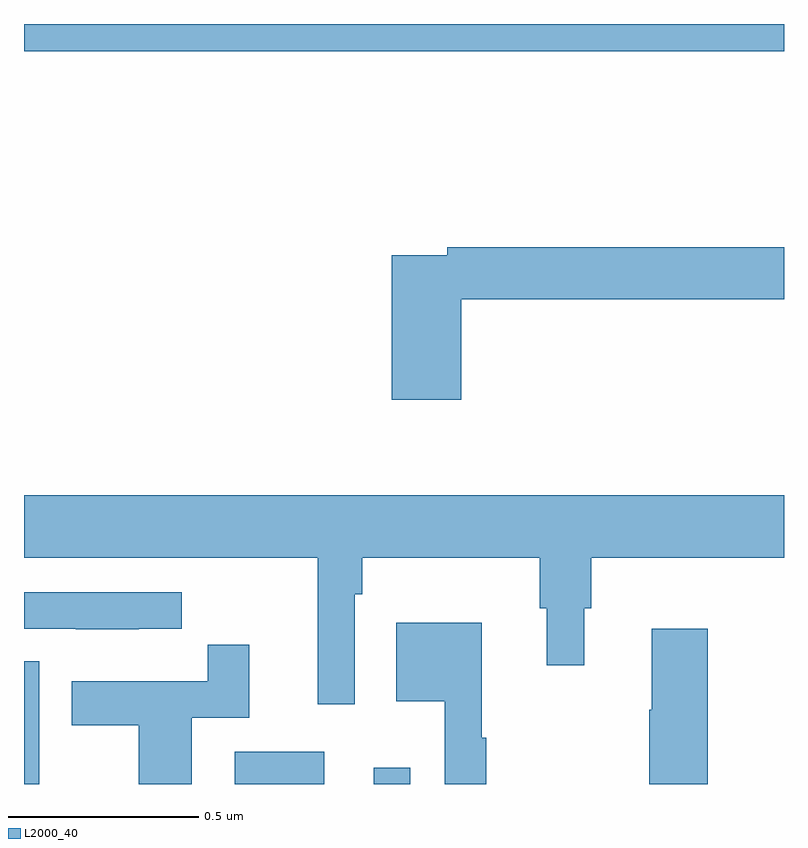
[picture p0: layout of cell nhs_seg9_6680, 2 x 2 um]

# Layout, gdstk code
import gdstk
lib = gdstk.Library(unit=1e-6, precision=1e-09)
def R(c, l, rs):  # rectangles x0, y0, x1, y1
    for r in rs: c.add(gdstk.rectangle(r[:2], r[2:], *l))
def P(c, l, *ps):  # polygons
    for p in ps: c.add(gdstk.Polygon(p, *l))
L2000_40 = (2000, 40)

nhs_seg9_6680 = lib.new_cell('nhs_seg9_6680')
R(nhs_seg9_6680, L2000_40, [(195,1186.5,195.04,1186.823), (195.554,1186.5,195.79,1186.585), (195.92,1186.5,196.017,1186.543), (195,1188.428,197,1188.5)])
P(nhs_seg9_6680, L2000_40, [(196.151,1187.776),(197,1187.776),(197,1187.912),(196.114,1187.912),(196.114,1187.892),(195.968,1187.892),(195.968,1187.511),(196.151,1187.511)],
  [(195.87,1187),(195.89,1187),(195.89,1187.096),(196.357,1187.096),(196.357,1186.962),(196.376,1186.962),(196.376,1186.812),(196.474,1186.812),(196.474,1186.962),(196.493,1186.962),(196.493,1187.096),(197,1187.096),(197,1187.26),(195,1187.26),(195,1187.096),(195.773,1187.096),(195.773,1186.71),(195.87,1186.71)],
  [(195.302,1186.908),(195.415,1186.908),(195.415,1187.004),(195,1187.004),(195,1186.908),(195.136,1186.908),(195.136,1186.907),(195.302,1186.907)],
  [(196.216,1186.622),(196.204,1186.622),(196.204,1186.924),(195.98,1186.924),(195.98,1186.718),(196.107,1186.718),(196.107,1186.5),(196.216,1186.5)],
  [(196.799,1186.909),(196.652,1186.909),(196.652,1186.696),(196.645,1186.696),(196.645,1186.5),(196.799,1186.5)],
  [(195.442,1186.674),(195.593,1186.674),(195.593,1186.867),(195.484,1186.867),(195.484,1186.77),(195.125,1186.77),(195.125,1186.654),(195.302,1186.654),(195.302,1186.5),(195.442,1186.5)])

lib.write_gds('nhs_seg9_6680.gds')
